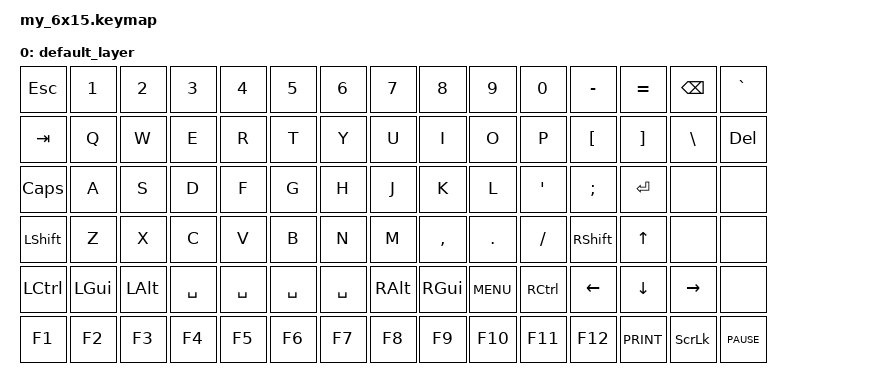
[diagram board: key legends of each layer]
/ {
    keymap {
        compatible = "zmk,keymap";

        default_layer {
            bindings = <
                // Row 1
                &kp ESC &kp 1 &kp 2 &kp 3 &kp 4 &kp 5 &kp 6 &kp 7 &kp 8 &kp 9 &kp 0 &kp MINUS &kp EQUAL &kp BSPC &kp GRAVE

                // Row 2
                &kp TAB &kp Q &kp W &kp E &kp R &kp T &kp Y &kp U &kp I &kp O &kp P &kp LBKT &kp RBKT &kp BSLH &kp DEL

                // Row 3
                &kp CAPS &kp A &kp S &kp D &kp F &kp G &kp H &kp J &kp K &kp L &kp SQT &kp SEMI &kp ENTER &none &none

                // Row 4
                &kp LSHFT &kp Z &kp X &kp C &kp V &kp B &kp N &kp M &kp COMMA &kp DOT &kp FSLH &kp RSHFT &kp UP &none &none

                // Row 5
                &kp LCTRL &kp LGUI &kp LALT &kp SPACE &kp SPACE &kp SPACE &kp SPACE &kp RALT &kp RGUI &kp MENU &kp RCTRL &kp LEFT &kp DOWN &kp RIGHT &none

                // Row 6 (Extra row)
                &kp F1 &kp F2 &kp F3 &kp F4 &kp F5 &kp F6 &kp F7 &kp F8 &kp F9 &kp F10 &kp F11 &kp F12 &kp PRINT &kp SCROLLLOCK &kp PAUSE
            >;
        };
    };
};
